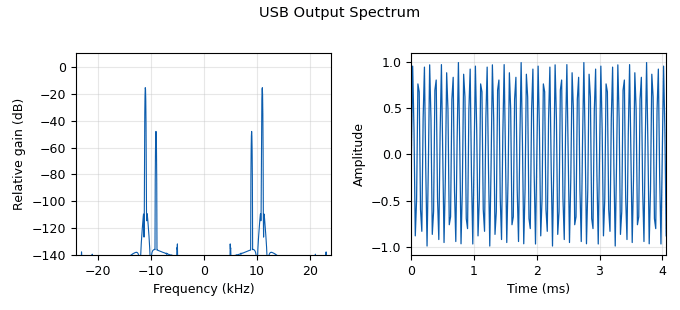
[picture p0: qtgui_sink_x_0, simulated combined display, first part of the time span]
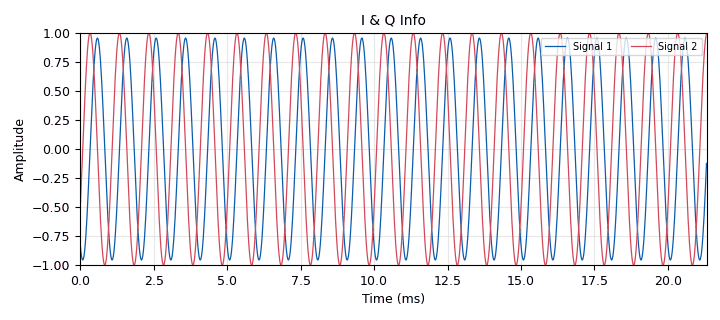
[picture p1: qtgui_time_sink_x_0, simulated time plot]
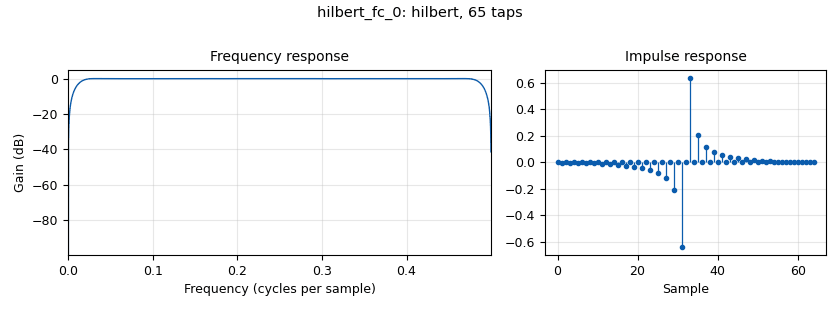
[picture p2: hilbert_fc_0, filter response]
options:
  parameters:
    generate_options: qt_gui
    id: SSB_Modulator
    output_language: python
    title: SSB Modulator
  states: {}

blocks:
- name: fc
  id: variable
  parameters:
    value: '10000'
  states: {}
- name: fi
  id: variable_qtgui_range
  parameters:
    label: Info Frequency
    start: '300'
    step: '100'
    stop: '2700'
    value: '1000'
  states: {}
- name: samp_rate
  id: variable
  parameters:
    value: '48000'
  states: {}
- name: analog_sig_source_x_0
  id: analog_sig_source_x
  parameters:
    amp: '1'
    freq: fi
    offset: '0'
    phase: '0'
    samp_rate: samp_rate
    type: float
    waveform: analog.GR_COS_WAVE
  states: {}
- name: analog_sig_source_x_0_0
  id: analog_sig_source_x
  parameters:
    amp: '1'
    freq: '10000'
    offset: '0'
    phase: '0'
    samp_rate: samp_rate
    type: complex
    waveform: analog.GR_COS_WAVE
  states: {}
- name: blocks_add_xx_1
  id: blocks_add_xx
  parameters:
    alias: TheADDER
    type: float
  states: {}
- name: blocks_complex_to_float_0
  id: blocks_complex_to_float
  parameters: {}
  states: {}
- name: blocks_complex_to_float_0_0
  id: blocks_complex_to_float
  parameters: {}
  states: {}
- name: blocks_complex_to_float_0_1
  id: blocks_complex_to_float
  parameters: {}
  states: {}
- name: blocks_multiply_xx_0
  id: blocks_multiply_xx
  parameters:
    alias: Multiply A
    type: float
  states: {}
- name: blocks_multiply_xx_0_0
  id: blocks_multiply_xx
  parameters:
    alias: Multiply B
    type: float
  states: {}
- name: blocks_null_sink_0
  id: blocks_null_sink
  parameters:
    type: float
  states: {}
- name: blocks_null_sink_0_0
  id: blocks_null_sink
  parameters:
    type: float
  states: {}
- name: blocks_throttle2_0
  id: blocks_throttle2
  parameters:
    samples_per_second: samp_rate
    type: float
  states: {}
- name: hilbert_fc_0
  id: hilbert_fc
  parameters:
    num_taps: '65'
  states: {}
- name: hilbert_fc_1
  id: hilbert_fc
  parameters:
    num_taps: '65'
  states: {}
- name: qtgui_sink_x_0
  id: qtgui_sink_x
  parameters:
    bw: samp_rate
    fc: '0'
    fftsize: '1024'
    name: '"USB Output Spectrum"'
    showrf: 'True'
    type: float
  states: {}
- name: qtgui_time_sink_x_0
  id: qtgui_time_sink_x
  parameters:
    ctrlpanel: 'True'
    name: '"I & Q Info"'
    nconnections: '2'
    size: '1024'
    srate: samp_rate
    type: float
  states: {}

connections:
- [analog_sig_source_x_0, '0', blocks_throttle2_0, '0']
- [analog_sig_source_x_0_0, '0', blocks_complex_to_float_0_0, '0']
- [blocks_add_xx_1, '0', qtgui_sink_x_0, '0']
- [blocks_complex_to_float_0, '0', blocks_null_sink_0, '0']
- [blocks_complex_to_float_0, '1', blocks_multiply_xx_0, '0']
- [blocks_complex_to_float_0, '1', qtgui_time_sink_x_0, '0']
- [blocks_complex_to_float_0_0, '0', blocks_multiply_xx_0, '1']
- [blocks_complex_to_float_0_0, '1', blocks_multiply_xx_0_0, '1']
- [blocks_complex_to_float_0_1, '0', blocks_multiply_xx_0_0, '0']
- [blocks_complex_to_float_0_1, '0', qtgui_time_sink_x_0, '1']
- [blocks_complex_to_float_0_1, '1', blocks_null_sink_0_0, '0']
- [blocks_multiply_xx_0, '0', blocks_add_xx_1, '0']
- [blocks_multiply_xx_0_0, '0', blocks_add_xx_1, '1']
- [blocks_throttle2_0, '0', hilbert_fc_0, '0']
- [blocks_throttle2_0, '0', hilbert_fc_1, '0']
- [hilbert_fc_0, '0', blocks_complex_to_float_0, '0']
- [hilbert_fc_1, '0', blocks_complex_to_float_0_1, '0']

metadata:
  file_format: 1
  grc_version: 3.10.9.2
